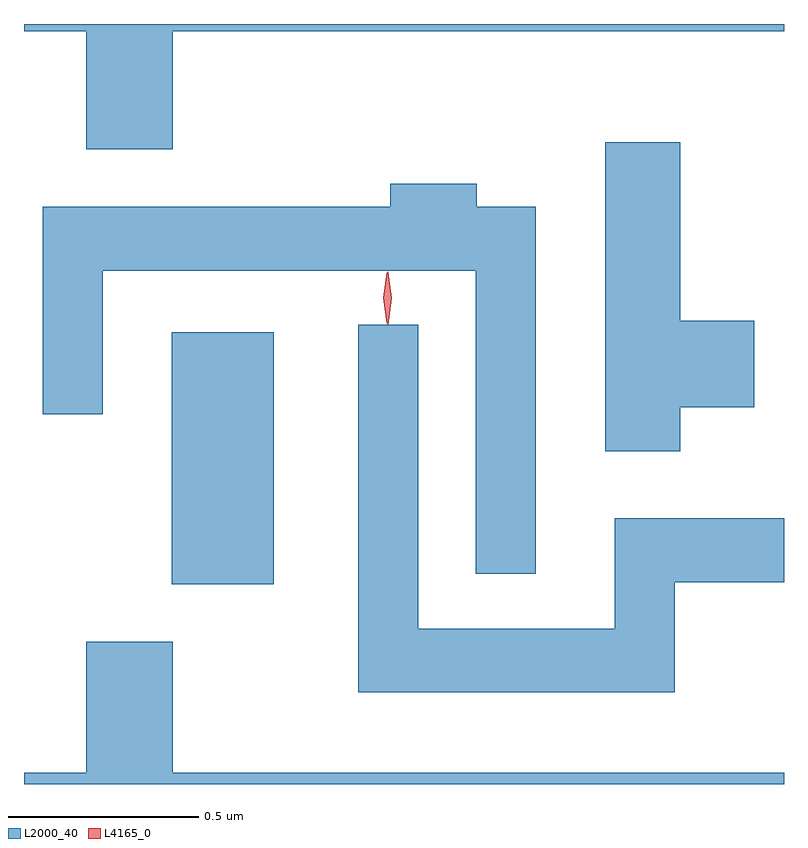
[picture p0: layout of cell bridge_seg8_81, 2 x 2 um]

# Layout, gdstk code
import gdstk
lib = gdstk.Library(unit=1e-6, precision=1e-09)
def R(c, l, rs):  # rectangles x0, y0, x1, y1
    for r in rs: c.add(gdstk.rectangle(r[:2], r[2:], *l))
def P(c, l, *ps):  # polygons
    for p in ps: c.add(gdstk.Polygon(p, *l))
L2000_40 = (2000, 40)
L4165_0 = (4165, 0)

bridge_seg8_81 = lib.new_cell('bridge_seg8_81')
R(bridge_seg8_81, L2000_40, [(1623.856,1812.761,1624.124,1813.424)])
P(bridge_seg8_81, L2000_40, [(1623.859,1814.216),(1625.467,1814.216),(1625.467,1814.235),(1623.467,1814.235),(1623.467,1814.216),(1623.631,1814.216),(1623.631,1813.906),(1623.859,1813.906)],
  [(1625.194,1813.226),(1625.389,1813.226),(1625.389,1813.454),(1625.194,1813.454),(1625.194,1813.924),(1624.996,1813.924),(1624.996,1813.111),(1625.194,1813.111)],
  [(1624.814,1813.754),(1624.659,1813.754),(1624.659,1813.814),(1624.431,1813.814),(1624.431,1813.754),(1623.516,1813.754),(1623.516,1813.208),(1623.674,1813.208),(1623.674,1813.586),(1624.656,1813.586),(1624.656,1812.788),(1624.814,1812.788)],
  [(1625.179,1812.766),(1625.467,1812.766),(1625.467,1812.934),(1625.021,1812.934),(1625.021,1812.644),(1624.504,1812.644),(1624.504,1813.443),(1624.346,1813.443),(1624.346,1812.476),(1625.179,1812.476)],
  [(1625.467,1812.264),(1623.859,1812.264),(1623.859,1812.609),(1623.631,1812.609),(1623.631,1812.264),(1623.467,1812.264),(1623.467,1812.235),(1625.467,1812.235)])
P(bridge_seg8_81, L4165_0, [(1624.422,1813.447),(1624.422,1813.447),(1624.412,1813.514),(1624.422,1813.58),(1624.422,1813.58),(1624.423,1813.58),(1624.432,1813.514),(1624.423,1813.447)],
  [(1624.425,1813.443),(1624.424,1813.444),(1624.415,1813.513),(1624.424,1813.582),(1624.425,1813.583),(1624.425,1813.582),(1624.435,1813.513),(1624.425,1813.444)])

lib.write_gds('bridge_seg8_81.gds')
